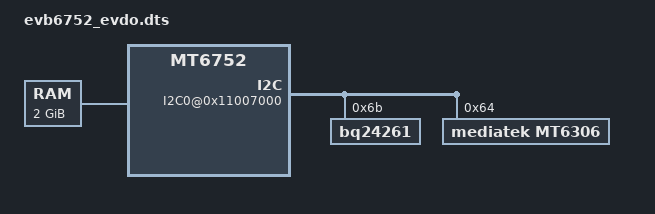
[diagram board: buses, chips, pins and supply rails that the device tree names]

/dts-v1/;

/include/ "mt6752.dtsi"

/ {
	memory@00000000 {
		device_type = "memory";
		reg = <0 0x40000000 0 0x80000000>;
	};

	bus {
		compatible = "simple-bus";
		#address-cells = <1>;
		#size-cells = <1>;
		ranges = <0 0 0 0xffffffff>;

		I2C0@0x11007000 {
			bq24261@6b {
				compatible = "bq24261";
				reg = <0x6b>;
			};

			mt6306@64 {
				compatible = "mediatek,mt6306";
				reg = <0x64>;
			};
		};
	};
};
